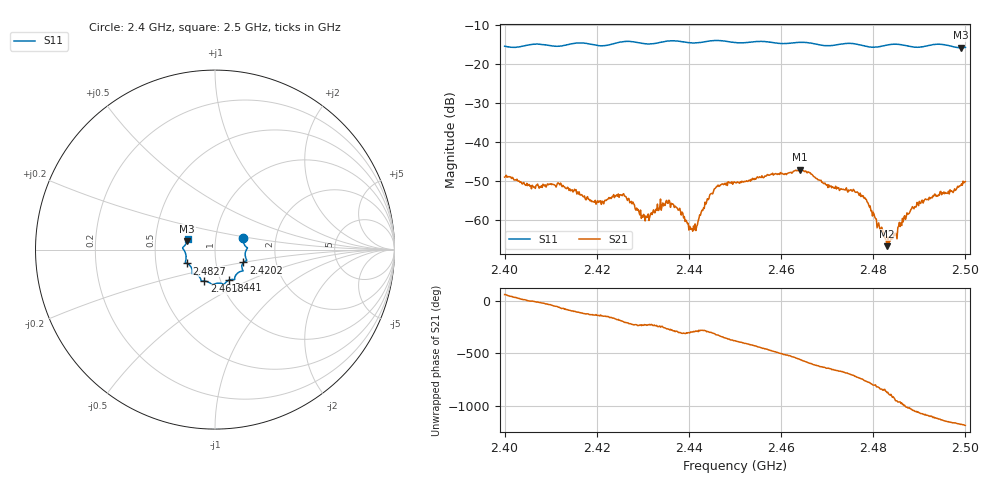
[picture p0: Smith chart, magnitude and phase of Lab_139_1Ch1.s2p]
# Hz S RI R 50
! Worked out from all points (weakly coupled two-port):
!   601 points, 2.4 GHz to 2.5 GHz, reference 50 ohm
!   highest |S21| = -47.09 dB at 2.464 GHz (marker M1); lowest = -66.7 dB at 2.483 GHz (marker M2)
!   lowest |S11| = -15.8 dB at 2.499 GHz (marker M3), VSWR 1.39, Z = 36.4 + j3.51 ohm
!   |S11| at or under -10 dB: start of sweep to end of sweep
!   S12 and S22 are empty: the file has one direction only
!   S11 on the Smith chart (normalised r, x): 2.4 GHz: 1.36, +0.17; 2.4202 GHz: 1.36, -0.20; 2.441 GHz: 1.10, -0.39; 2.4618 GHz: 0.84, -0.30; 2.4827 GHz: 0.72, -0.11; 2.5 GHz: 0.73, +0.09
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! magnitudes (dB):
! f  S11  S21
! 2.4 GHz  -15.4  -49.0
! 2.4062 GHz  -14.9  -51.3
! 2.4118 GHz  -15.4  -50.7
! 2.4167 GHz  -14.6  -53.5
! 2.4202 GHz  -15.2  -55.0
! 2.4257 GHz  -14.2  -53.4
! 2.431 GHz  -14.8  -59.3
! 2.4333 GHz  -14.5  -57.6
! 2.4362 GHz  -14.0  -55.7
! 2.441 GHz  -14.6  -61.5
! 2.4458 GHz  -13.9  -51.7
! 2.45 GHz  -14.5  -50.4
! 2.4618 GHz  -14.6  -47.8
! 2.464 GHz  -14.4  -47.1
! 2.4667 GHz  -14.6  -48.3
! 2.478 GHz  -15.3  -54.4
! 2.4827 GHz  -15.2  -64.9
! 2.483 GHz  -15.1  -66.7
! 2.4833 GHz  -15.0  -66.5
! 2.49 GHz  -15.6  -55.2
! 2.499 GHz  -15.8  -51.1
! 2.5 GHz  -15.7  -50.1
